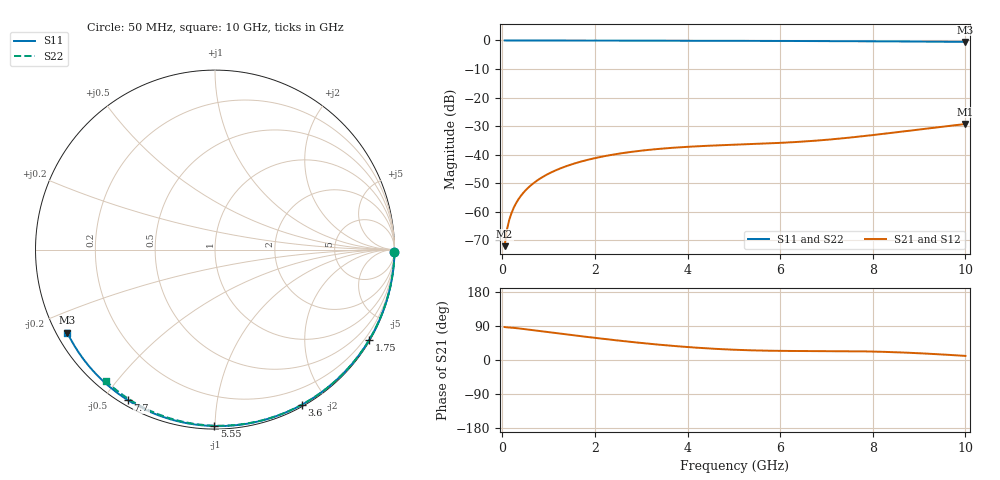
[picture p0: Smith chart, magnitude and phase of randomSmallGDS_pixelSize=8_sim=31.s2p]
! freq	dB(S11)	phase(S11)	dB(S12)	phase(S12)
!  dB(S21)	phase(S21)	dB(S22)	phase(S22)
!S-par simulation data
#  GHz  S  DB  R 50
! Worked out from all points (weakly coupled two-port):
!   200 points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, 50 MHz to 10 GHz, reference 50 ohm
!   highest |S21| = -29.24 dB at 10 GHz (marker M1); lowest = -72.0 dB at 50 MHz (marker M2)
!   lowest |S11| = -0.5 dB at 10 GHz (marker M3), VSWR 34.75, Z = 1.54 - j13.1 ohm
!   |S11| at or under -10 dB: nowhere
!   |S22| runs from -0.4 to 0.0 dB; largest |S21 - S12| = 0
!   S11 on the Smith chart (normalised r, x): 50 MHz: open; 1.75 GHz: 0.03, -3.68; 3.6 GHz: 0.02, -1.70; 5.55 GHz: 0.02, -1.00; 7.7 GHz: 0.02, -0.58; 10 GHz: 0.03, -0.26
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0.05  -0.00 -0.9  -71.99 87.0  -71.99 87.0  -0.00 -0.8
0.1  -0.00 -1.8  -66.21 86.2  -66.21 86.2  -0.00 -1.5
0.15  -0.00 -2.7  -62.80 85.8  -62.80 85.8  -0.00 -2.3
0.2  -0.00 -3.5  -60.35 85.3  -60.35 85.3  -0.00 -3.0
0.25  -0.00 -4.4  -58.44 84.7  -58.44 84.7  -0.00 -3.8
0.35  -0.00 -6.2  -55.56 83.4  -55.56 83.4  -0.00 -5.3
0.5  -0.01 -8.8  -52.50 81.3  -52.50 81.3  -0.01 -7.6
0.7  -0.01 -12.3  -49.63 78.2  -49.63 78.2  -0.01 -10.6
1  -0.02 -17.5  -46.63 73.6  -46.63 73.6  -0.02 -15.1
1.35  -0.03 -23.6  -44.18 68.2  -44.18 68.2  -0.03 -20.3
1.75  -0.04 -30.4  -42.17 62.1  -42.17 62.1  -0.03 -26.1
2.5  -0.06 -43.0  -39.66 51.4  -39.66 51.4  -0.05 -37.0
3.4  -0.08 -57.6  -37.92 40.3  -37.92 40.3  -0.07 -49.7
3.6  -0.08 -60.8  -37.66 38.1  -37.66 38.1  -0.07 -52.5
4.3  -0.10 -71.7  -36.96 31.6  -36.96 31.6  -0.09 -62.0
5.05  -0.13 -83.0  -36.46 26.9  -36.46 26.9  -0.11 -71.8
5.55  -0.15 -90.3  -36.16 25.0  -36.16 25.0  -0.13 -78.2
6.7  -0.21 -106.5  -35.15 23.7  -35.15 23.7  -0.18 -92.3
7.7  -0.27 -120.1  -33.66 22.9  -33.66 22.9  -0.23 -104.0
8.35  -0.33 -128.7  -32.45 21.1  -32.45 21.1  -0.28 -111.4
9.2  -0.41 -140.0  -30.78 16.6  -30.78 16.6  -0.35 -120.8
10  -0.50 -150.7  -29.24 10.8  -29.24 10.8  -0.43 -129.6
